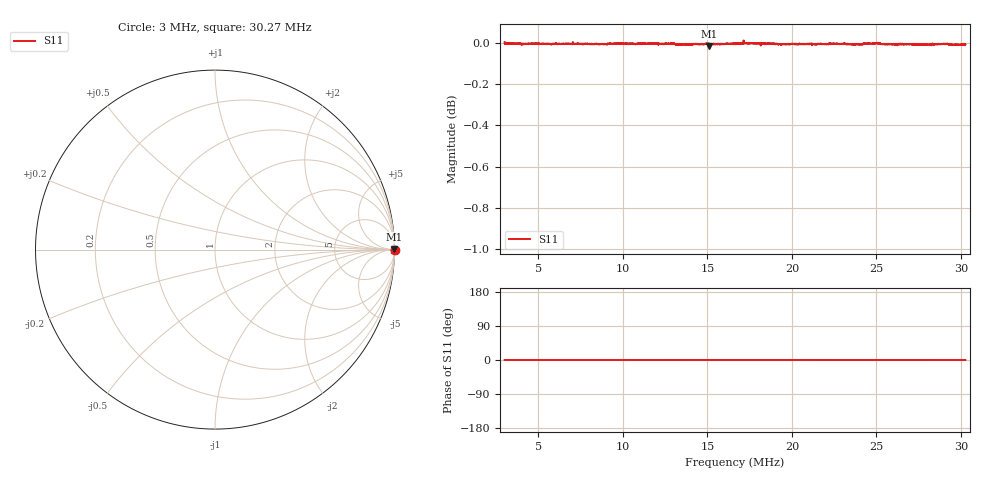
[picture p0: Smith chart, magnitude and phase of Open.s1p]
# HZ S RI R 50
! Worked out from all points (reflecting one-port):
!   2727 points, 3 MHz to 30.27 MHz, reference 50 ohm
!   lowest |S11| = 0.0 dB at 15.12 MHz (marker M1)
!   phase of S11 starts at 0 deg and turns -0 deg over the sweep
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3000000  1.001 0.000285
3140056  0.9998 0.000206
4090436  0.9997 0.000227
6411364  0.9995 0.000294
8932372  0.9995 0.000121
9822728  0.9999 0.000124
1.07431e7  0.9996 0.000462
1.294398e7  0.9999 0.000673
1.323409e7  0.9993 0.000548
1.512485e7  0.9984 0.000643
1.663545e7  0.9998 0.000698
1.727571e7  1 0.000664
1.828611e7  0.9997 0.00066
1.870628e7  0.9998 0.000643
1.929652e7  0.9994 0.000635
2.004682e7  0.9995 0.000774
2.139736e7  0.9995 0.000408
2.256782e7  0.9997 0.000379
2.345818e7  0.9994 0.000328
2.406842e7  0.9993 0.000317
2.434854e7  0.9997 0.000194
2.508883e7  0.9999 0.000231
2.5519e7  0.9994 7.13e-05
2.686954e7  0.9993 2.11e-06
2.778991e7  0.9991 0.000264
2.912044e7  0.9996 7.62e-05
2.949059e7  0.999 0.000142
3.02709e7  0.9993 5.84e-05
